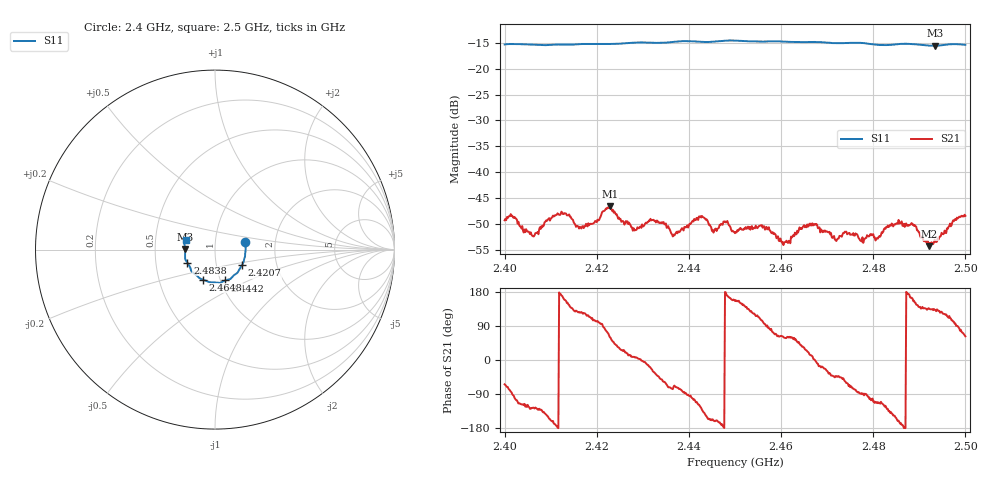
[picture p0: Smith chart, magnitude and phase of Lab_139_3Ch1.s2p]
# Hz S RI R 50
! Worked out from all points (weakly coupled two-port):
!   601 points, 2.4 GHz to 2.5 GHz, reference 50 ohm
!   highest |S21| = -46.52 dB at 2.4228 GHz (marker M1); lowest = -54.3 dB at 2.4922 GHz (marker M2)
!   lowest |S11| = -15.6 dB at 2.4935 GHz (marker M3), VSWR 1.40, Z = 35.7 + j0.194 ohm
!   |S11| at or under -10 dB: start of sweep to end of sweep
!   S12 and S22 are empty: the file has one direction only
!   S11 on the Smith chart (normalised r, x): 2.4 GHz: 1.39, +0.12; 2.4207 GHz: 1.33, -0.24; 2.4442 GHz: 1.05, -0.37; 2.4648 GHz: 0.83, -0.29; 2.4838 GHz: 0.73, -0.11; 2.5 GHz: 0.72, +0.08
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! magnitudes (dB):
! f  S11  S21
! 2.4 GHz  -15.3  -49.3
! 2.406 GHz  -15.3  -52.3
! 2.412 GHz  -15.3  -48.3
! 2.4167 GHz  -15.2  -50.9
! 2.4207 GHz  -15.2  -48.9
! 2.4228 GHz  -15.2  -46.5
! 2.4282 GHz  -15.0  -51.3
! 2.4333 GHz  -15.0  -49.7
! 2.4367 GHz  -14.8  -52.1
! 2.4442 GHz  -14.8  -49.7
! 2.45 GHz  -14.6  -51.8
! 2.4558 GHz  -14.8  -50.2
! 2.461 GHz  -14.8  -53.5
! 2.4648 GHz  -14.9  -50.5
! 2.4667 GHz  -14.8  -50.3
! 2.4775 GHz  -15.0  -53.4
! 2.4833 GHz  -15.4  -50.6
! 2.4838 GHz  -15.4  -50.3
! 2.4887 GHz  -15.3  -50.1
! 2.4922 GHz  -15.5  -54.3
! 2.4935 GHz  -15.6  -53.5
! 2.5 GHz  -15.4  -48.4
